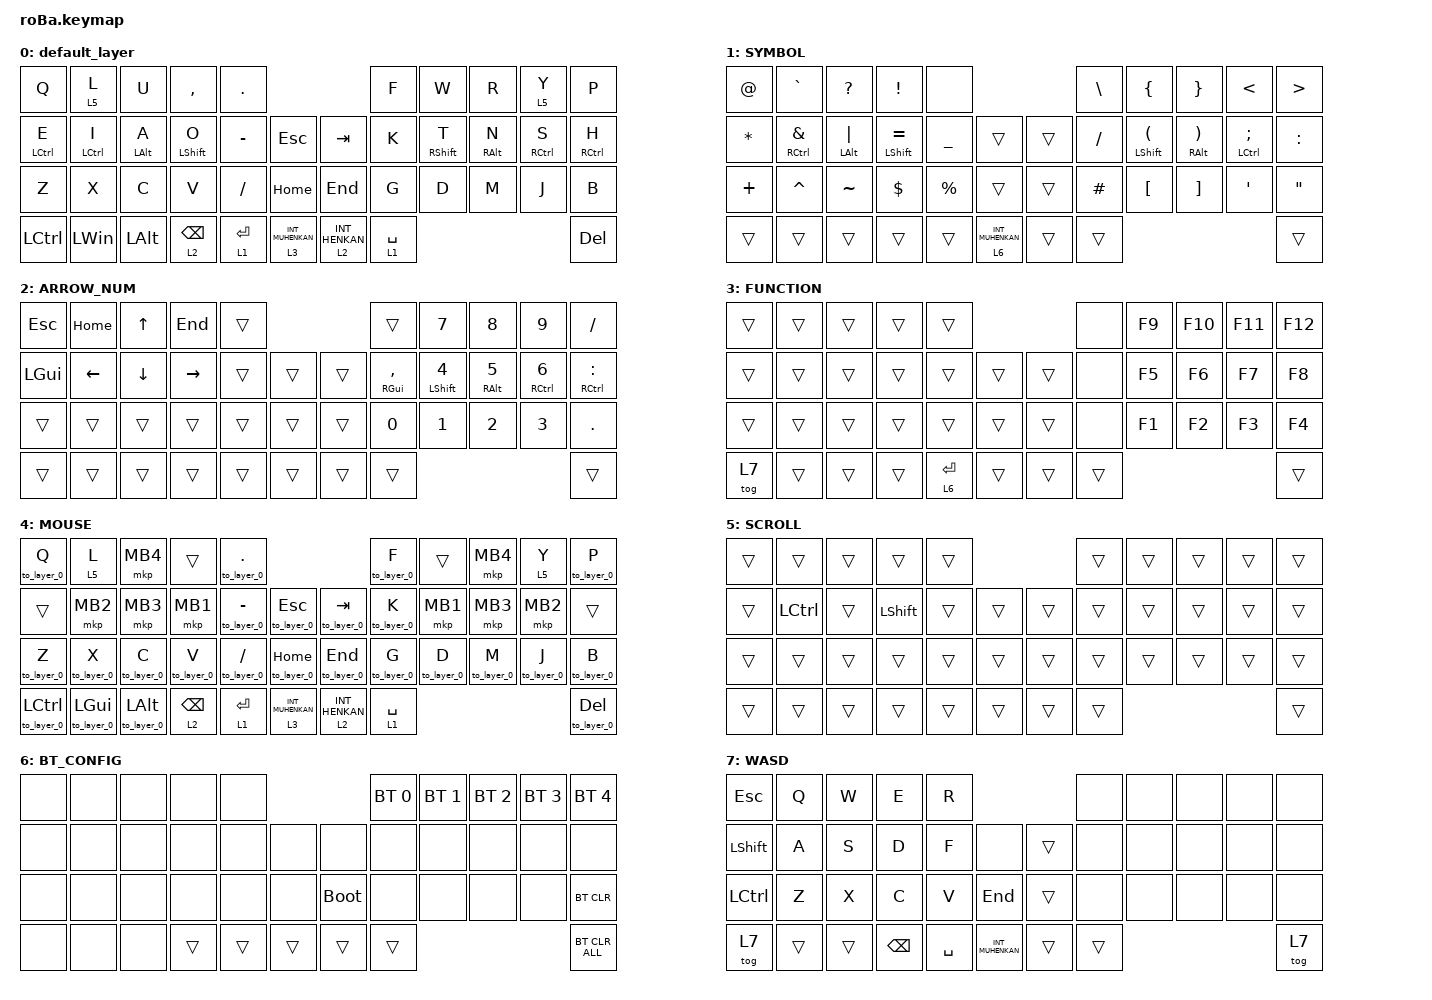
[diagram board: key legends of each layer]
#include <behaviors.dtsi>
#include <dt-bindings/zmk/bt.h>
#include <dt-bindings/zmk/keys.h>
#include <dt-bindings/zmk/pointing.h>

&mt {
    flavor = "balanced";
    quick-tap-ms = <0>;
};

&trackball {
    automouse-layer = <4>;
    scroll-layers = <5>;

    // arrows {
    //     layers = <3>;
    //     bindings =
    //         <&kp RIGHT_ARROW>,
    //         <&kp LEFT_ARROW>,
    //         <&kp UP_ARROW>,
    //         <&kp DOWN_ARROW>;
    //     tick = <10>;
    //     wait-ms = <5>;
    //     tap-ms = <5>;
    // };
};

/ {
    combos {
        compatible = "zmk,combos";

        Muhenkan {
            bindings = <&to_layer_0 INT_MUHENKAN>;
            key-positions = <12 13>;
        };

        Kana {
            bindings = <&to_layer_0 INT_KANA>;
            key-positions = <19 18>;
        };
    };

    macros {
        to_layer_0: to_layer_0 {
            compatible = "zmk,behavior-macro-one-param";
            #binding-cells = <1>;
            bindings = <&to 0 &macro_param_1to1 &kp MACRO_PLACEHOLDER>;
            label = "TO_LAYER_0";
        };
    };

    behaviors {
        lt_to_layer_0: lt_to_layer_0 {
            compatible = "zmk,behavior-hold-tap";
            label = "LAYER_TAP_TO_0";
            bindings = <&mo>, <&to_layer_0>;

            #binding-cells = <2>;
            tapping-term-ms = <200>;
        };

        td_home_end: td_home_end {
            compatible = "zmk,behavior-tap-dance";
            label = "HOME_END";
            #binding-cells = <0>;
            bindings = <&kp HOME>, <&kp END>;
        };
    };

    keymap {
        compatible = "zmk,keymap";

        default_layer {
            bindings = <
&kp Q             &lt 5 L       &kp U           &kp COMMA         &kp PERIOD                                             &kp F        &kp W              &kp R            &lt 5 Y      &kp P
&mt LCTRL E       &mt LCTRL I   &mt LEFT_ALT A  &mt LEFT_SHIFT O  &kp MINUS    &kp ESC                 &kp TAB           &kp K        &mt RIGHT_SHIFT T  &mt RIGHT_ALT N  &mt RCTRL S  &mt RCTRL H
&kp Z             &kp X         &kp C           &kp V             &kp SLASH    &kp HOME                &kp END           &kp G        &kp D              &kp M            &kp J        &kp B
&kp LEFT_CONTROL  &kp LEFT_WIN  &kp LEFT_ALT    &lt 2 BACKSPACE   &lt 1 ENTER  &lt 3 INT_MUHENKAN      &lt 2 INT_HENKAN  &lt 1 SPACE                                                   &kp DEL
            >;
        };

        SYMBOL {
            bindings = <
&kp AT_SIGN   &kp GRAVE            &kp QUESTION       &kp EXCLAMATION       &none                                           &kp BACKSLASH  &kp LEFT_BRACE                   &kp RIGHT_BRACE                  &kp LESS_THAN        &kp GREATER_THAN
&kp ASTERISK  &mt RCTRL AMPERSAND  &mt LEFT_ALT PIPE  &mt LEFT_SHIFT EQUAL  &kp UNDERSCORE  &trans                  &trans  &kp SLASH      &mt LEFT_SHIFT LEFT_PARENTHESIS  &mt RIGHT_ALT RIGHT_PARENTHESIS  &mt LCTRL SEMICOLON  &kp COLON
&kp PLUS      &kp CARET            &kp TILDE          &kp DOLLAR            &kp PERCENT     &trans                  &trans  &kp HASH       &kp LEFT_BRACKET                 &kp RIGHT_BRACKET                &kp SINGLE_QUOTE     &kp DOUBLE_QUOTES
&trans        &trans               &trans             &trans                &trans          &lt 6 INT_MUHENKAN      &trans  &trans                                                                                                &trans
            >;
        };

        ARROW_NUM {
            bindings = <
&kp ESCAPE  &kp HOME        &kp UP_ARROW    &kp END          &trans                      &trans               &kp NUMBER_7             &kp NUMBER_8            &kp NUMBER_9        &kp SLASH
&kp LGUI    &kp LEFT_ARROW  &kp DOWN_ARROW  &kp RIGHT_ARROW  &trans  &trans      &trans  &mt RIGHT_GUI COMMA  &mt LEFT_SHIFT NUMBER_4  &mt RIGHT_ALT NUMBER_5  &mt RCTRL NUMBER_6  &mt RCTRL COLON
&trans      &trans          &trans          &trans           &trans  &trans      &trans  &kp NUMBER_0         &kp NUMBER_1             &kp NUMBER_2            &kp NUMBER_3        &kp PERIOD
&trans      &trans          &trans          &trans           &trans  &trans      &trans  &trans                                                                                    &trans
            >;
        };

        FUNCTION {
            bindings = <
&trans  &trans  &trans  &trans  &trans                           &none   &kp F9  &kp F10  &kp F11  &kp F12
&trans  &trans  &trans  &trans  &trans       &trans      &trans  &none   &kp F5  &kp F6   &kp F7   &kp F8
&trans  &trans  &trans  &trans  &trans       &trans      &trans  &none   &kp F1  &kp F2   &kp F3   &kp F4
&tog 7  &trans  &trans  &trans  &lt 6 ENTER  &trans      &trans  &trans                            &trans
            >;
        };

        MOUSE {
            bindings = <
&to_layer_0 Q      &lt_to_layer_0 5 L    &mkp MB4              &trans                      &to_layer_0 DOT                                                                         &to_layer_0 F           &trans         &mkp MB4       &lt_to_layer_0 5 Y  &to_layer_0 P
&trans             &mkp MB2              &mkp MB3              &mkp MB1                    &to_layer_0 MINUS       &to_layer_0 ESCAPE                 &to_layer_0 TAB              &to_layer_0 K           &mkp MB1       &mkp MB3       &mkp MB2            &trans
&to_layer_0 Z      &to_layer_0 X         &to_layer_0 C         &to_layer_0 V               &to_layer_0 SLASH       &to_layer_0 HOME                   &to_layer_0 END              &to_layer_0 G           &to_layer_0 D  &to_layer_0 M  &to_layer_0 J       &to_layer_0 B
&to_layer_0 LCTRL  &to_layer_0 LEFT_GUI  &to_layer_0 LEFT_ALT  &lt_to_layer_0 2 BACKSPACE  &lt_to_layer_0 1 ENTER  &lt_to_layer_0 3 INT_MUHENKAN      &lt_to_layer_0 2 INT_HENKAN  &lt_to_layer_0 1 SPACE                                                    &to_layer_0 DELETE
            >;
        };

        SCROLL {
            bindings = <
&trans  &trans     &trans  &trans      &trans                      &trans  &trans  &trans  &trans  &trans
&trans  &kp LCTRL  &trans  &kp LSHIFT  &trans  &trans      &trans  &trans  &trans  &trans  &trans  &trans
&trans  &trans     &trans  &trans      &trans  &trans      &trans  &trans  &trans  &trans  &trans  &trans
&trans  &trans     &trans  &trans      &trans  &trans      &trans  &trans                          &trans
            >;
        };

        BT_CONFIG {
            bindings = <
&none  &none  &none  &none   &none                            &bt BT_SEL 0  &bt BT_SEL 1  &bt BT_SEL 2  &bt BT_SEL 3  &bt BT_SEL 4
&none  &none  &none  &none   &none   &none       &none        &none         &none         &none         &none         &none
&none  &none  &none  &none   &none   &none       &bootloader  &none         &none         &none         &none         &bt BT_CLR
&none  &none  &none  &trans  &trans  &trans      &trans       &trans                                                  &bt BT_CLR_ALL
            >;
        };

        WASD {
            bindings = <
&kp ESC         &kp Q   &kp W   &kp E          &kp R                                    &none   &none  &none  &none  &none
&kp LEFT_SHIFT  &kp A   &kp S   &kp D          &kp F      &none                 &trans  &none   &none  &none  &none  &none
&kp LCTRL       &kp Z   &kp X   &kp C          &kp V      &kp END               &trans  &none   &none  &none  &none  &none
&tog 7          &trans  &trans  &kp BACKSPACE  &kp SPACE  &kp INT_MUHENKAN      &trans  &trans                       &tog 7
            >;
        };
    };
};
